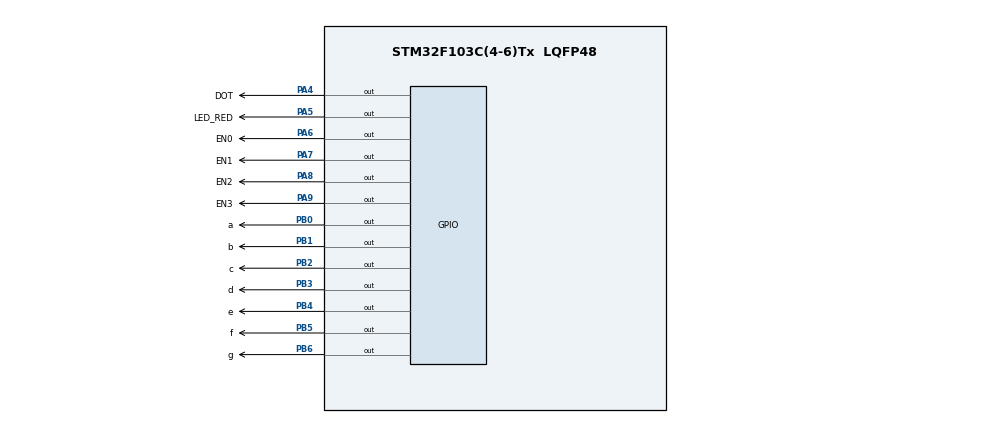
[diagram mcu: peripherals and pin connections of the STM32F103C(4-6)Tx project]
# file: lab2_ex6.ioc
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Mcu.Family=STM32F1
Mcu.Name=STM32F103C(4-6)Tx
Mcu.Package=LQFP48
NVIC.PriorityGroup=NVIC_PRIORITYGROUP_4
NVIC.TIM2_IRQn=true\:0\:0\:false\:false\:true\:true\:true
PA4.GPIO_Label=DOT
PA4.Signal=GPIO_Output
PA5.GPIO_Label=LED_RED
PA5.Signal=GPIO_Output
PA6.GPIO_Label=EN0
PA6.Signal=GPIO_Output
PA7.GPIO_Label=EN1
PA7.Signal=GPIO_Output
PA8.GPIO_Label=EN2
PA8.Signal=GPIO_Output
PA9.GPIO_Label=EN3
PA9.Signal=GPIO_Output
PB0.GPIO_Label=a
PB0.Signal=GPIO_Output
PB1.GPIO_Label=b
PB1.Signal=GPIO_Output
PB2.GPIO_Label=c
PB2.Signal=GPIO_Output
PB3.GPIO_Label=d
PB3.Signal=GPIO_Output
PB4.GPIO_Label=e
PB4.Signal=GPIO_Output
PB5.GPIO_Label=f
PB5.Signal=GPIO_Output
PB6.GPIO_Label=g
PB6.Signal=GPIO_Output
PD0-OSC_IN.Mode=HSE-External-Oscillator
PD0-OSC_IN.Signal=RCC_OSC_IN
PD1-OSC_OUT.Mode=HSE-External-Oscillator
PD1-OSC_OUT.Signal=RCC_OSC_OUT
ProjectManager.HeapSize=0x200
ProjectManager.StackSize=0x400
ProjectManager.TargetToolchain=STM32CubeIDE
RCC.APB1Freq_Value=8000000
RCC.APB2Freq_Value=8000000
TIM2.Period=9
TIM2.Prescaler=7999
VP_SYS_VS_ND.Mode=No_Debug
VP_TIM2_VS_ClockSourceINT.Mode=Internal
board=custom

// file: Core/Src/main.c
/* USER CODE BEGIN Header */
/**
  ******************************************************************************
  * @file           : main.c
  * @brief          : Main program body
  ******************************************************************************
  * @attention
  *
  * <h2><center>&copy; Copyright (c) 2021 STMicroelectronics.
  * All rights reserved.</center></h2>
  *
  * This software component is licensed by ST under BSD 3-Clause license,
  * the "License"; You may not use this file except in compliance with the
  * License. You may obtain a copy of the License at:
  *                        opensource.org/licenses/BSD-3-Clause
  *
  ******************************************************************************
  */
/* USER CODE END Header */
#include "main.h"

TIM_HandleTypeDef htim2;

void SystemClock_Config(void);
static void MX_GPIO_Init(void);
static void MX_TIM2_Init(void);

/* USER CODE BEGIN 0 */
void display7SEG(int num){
	  switch(num){
	  case 0:
		  HAL_GPIO_WritePin(GPIOB, b_Pin, GPIO_PIN_RESET);
		  HAL_GPIO_WritePin(GPIOB, c_Pin, GPIO_PIN_RESET);
		  HAL_GPIO_WritePin(GPIOB, f_Pin, GPIO_PIN_RESET);
		  HAL_GPIO_WritePin(GPIOB, g_Pin, 1);
		  HAL_GPIO_WritePin(GPIOB, a_Pin, GPIO_PIN_RESET);
		  HAL_GPIO_WritePin(GPIOB, d_Pin, GPIO_PIN_RESET);
		  HAL_GPIO_WritePin(GPIOB, e_Pin, GPIO_PIN_RESET);
		  break;
	  case 1:
		  HAL_GPIO_WritePin(GPIOB, b_Pin, GPIO_PIN_RESET);
		  HAL_GPIO_WritePin(GPIOB, c_Pin, GPIO_PIN_RESET);
		  HAL_GPIO_WritePin(GPIOB, f_Pin, 1);
		  HAL_GPIO_WritePin(GPIOB, g_Pin, 1);
		  HAL_GPIO_WritePin(GPIOB, a_Pin, 1);
		  HAL_GPIO_WritePin(GPIOB, d_Pin, 1);
		  HAL_GPIO_WritePin(GPIOB, e_Pin, 1);
	      break;
	  case 2:
		  HAL_GPIO_WritePin(GPIOB, b_Pin, GPIO_PIN_RESET);
		  HAL_GPIO_WritePin(GPIOB, c_Pin, 1);
		  HAL_GPIO_WritePin(GPIOB, f_Pin, 1);
		  HAL_GPIO_WritePin(GPIOB, g_Pin, GPIO_PIN_RESET);
		  HAL_GPIO_WritePin(GPIOB, a_Pin, GPIO_PIN_RESET);
		  HAL_GPIO_WritePin(GPIOB, d_Pin, GPIO_PIN_RESET);
		  HAL_GPIO_WritePin(GPIOB, e_Pin, GPIO_PIN_RESET);
	      break;
	  case 3:
		  HAL_GPIO_WritePin(GPIOB, b_Pin, GPIO_PIN_RESET);
		  HAL_GPIO_WritePin(GPIOB, c_Pin, GPIO_PIN_RESET);
		  HAL_GPIO_WritePin(GPIOB, f_Pin, 1);
		  HAL_GPIO_WritePin(GPIOB, g_Pin, GPIO_PIN_RESET);
		  HAL_GPIO_WritePin(GPIOB, a_Pin, GPIO_PIN_RESET);
		  HAL_GPIO_WritePin(GPIOB, d_Pin, GPIO_PIN_RESET);
		  HAL_GPIO_WritePin(GPIOB, e_Pin, 1);
	      break;
	  case 4:
		  HAL_GPIO_WritePin(GPIOB, b_Pin, GPIO_PIN_RESET);
		  HAL_GPIO_WritePin(GPIOB, c_Pin, GPIO_PIN_RESET);
		  HAL_GPIO_WritePin(GPIOB, f_Pin, GPIO_PIN_RESET);
		  HAL_GPIO_WritePin(GPIOB, g_Pin, GPIO_PIN_RESET);
		  HAL_GPIO_WritePin(GPIOB, a_Pin, 1);
		  HAL_GPIO_WritePin(GPIOB, d_Pin, 1);
		  HAL_GPIO_WritePin(GPIOB, e_Pin, 1);
	      break;
	  case 5:
		  HAL_GPIO_WritePin(GPIOB, a_Pin, GPIO_PIN_RESET);
		  HAL_GPIO_WritePin(GPIOB, c_Pin, GPIO_PIN_RESET);
		  HAL_GPIO_WritePin(GPIOB, d_Pin, GPIO_PIN_RESET);
		  HAL_GPIO_WritePin(GPIOB, g_Pin, GPIO_PIN_RESET);
		  HAL_GPIO_WritePin(GPIOB, f_Pin, GPIO_PIN_RESET);
		  HAL_GPIO_WritePin(GPIOB, b_Pin, 1);
		  HAL_GPIO_WritePin(GPIOB, e_Pin, 1);
	      break;
	  case 6:
		  HAL_GPIO_WritePin(GPIOB, a_Pin, GPIO_PIN_RESET);
		  HAL_GPIO_WritePin(GPIOB, b_Pin, 1);
		  HAL_GPIO_WritePin(GPIOB, c_Pin, GPIO_PIN_RESET);
		  HAL_GPIO_WritePin(GPIOB, d_Pin, GPIO_PIN_RESET);
		  HAL_GPIO_WritePin(GPIOB, e_Pin, GPIO_PIN_RESET);
		  HAL_GPIO_WritePin(GPIOB, f_Pin, GPIO_PIN_RESET);
		  HAL_GPIO_WritePin(GPIOB, g_Pin, GPIO_PIN_RESET);
	      break;
	  case 7:
		  HAL_GPIO_WritePin(GPIOB, a_Pin, GPIO_PIN_RESET);
		  HAL_GPIO_WritePin(GPIOB, b_Pin, GPIO_PIN_RESET);
		  HAL_GPIO_WritePin(GPIOB, c_Pin, GPIO_PIN_RESET);
		  HAL_GPIO_WritePin(GPIOB, d_Pin, 1);
		  HAL_GPIO_WritePin(GPIOB, e_Pin, 1);
		  HAL_GPIO_WritePin(GPIOB, f_Pin, 1);
		  HAL_GPIO_WritePin(GPIOB, g_Pin, 1);
	      break;
	  case 8:
		  HAL_GPIO_WritePin(GPIOB, a_Pin, GPIO_PIN_RESET);
		  HAL_GPIO_WritePin(GPIOB, b_Pin, GPIO_PIN_RESET);
		  HAL_GPIO_WritePin(GPIOB, c_Pin, GPIO_PIN_RESET);
		  HAL_GPIO_WritePin(GPIOB, d_Pin, GPIO_PIN_RESET);
		  HAL_GPIO_WritePin(GPIOB, e_Pin, GPIO_PIN_RESET);
		  HAL_GPIO_WritePin(GPIOB, f_Pin, GPIO_PIN_RESET);
		  HAL_GPIO_WritePin(GPIOB, g_Pin, GPIO_PIN_RESET);
	      break;
	  case 9:
		  HAL_GPIO_WritePin(GPIOB, a_Pin, GPIO_PIN_RESET);
		  HAL_GPIO_WritePin(GPIOB, b_Pin, GPIO_PIN_RESET);
		  HAL_GPIO_WritePin(GPIOB, c_Pin, GPIO_PIN_RESET);
		  HAL_GPIO_WritePin(GPIOB, d_Pin, GPIO_PIN_RESET);
		  HAL_GPIO_WritePin(GPIOB, e_Pin, 1);
		  HAL_GPIO_WritePin(GPIOB, f_Pin, GPIO_PIN_RESET);
		  HAL_GPIO_WritePin(GPIOB, g_Pin, GPIO_PIN_RESET);
	      break;
	  }
}
/* USER CODE END 0 */
const int MAX_LED = 4;
int index_led = 0;
int led_buffer [4] = {1, 2, 3, 4};
void update7SEG ( int index ){
 switch ( index ){
 case 0:
 // Display the first 7 SEG with led_buffer [0]
	 display7SEG(led_buffer[0]);
	 HAL_GPIO_WritePin(GPIOA, EN0_Pin,0);
	 HAL_GPIO_WritePin(GPIOA, EN1_Pin|EN2_Pin|EN3_Pin,1);
 break ;
 case 1:
 // Display the second 7 SEG with led_buffer [1]
	 HAL_GPIO_WritePin(GPIOA, EN1_Pin,0);
	 HAL_GPIO_WritePin(GPIOA, EN0_Pin|EN2_Pin|EN3_Pin,1);
	 display7SEG(led_buffer[1]);
 break ;
 case 2:
 // Display the third 7 SEG with led_buffer [2]
	 HAL_GPIO_WritePin(GPIOA, EN2_Pin,0);
	 HAL_GPIO_WritePin(GPIOA, EN0_Pin|EN1_Pin|EN3_Pin,1);
	 display7SEG(led_buffer[2]);
 break ;
 case 3:
 // Display the forth 7 SEG with led_buffer [3]
	 HAL_GPIO_WritePin(GPIOA, EN3_Pin,0);
	 HAL_GPIO_WritePin(GPIOA, EN0_Pin|EN2_Pin|EN1_Pin,1);
	 display7SEG(led_buffer[3]);
 break ;
 default :
 break ;
 }
}
int hour = 23, minute = 59, second = 10;
void updateClockBuffer(){
	led_buffer[0] = hour/10;
	led_buffer[1] = hour%10;
	led_buffer[2] = minute/10;
	led_buffer[3] = minute%10;
	if(hour < 10){
		led_buffer[0] = 0;
		led_buffer[1] = hour;
	}
	if(minute < 10){
		led_buffer[2] = 0;
		led_buffer[3] = minute;
	}
}
int timer0_counter = 0;
int timer0_flag = 0;
int TIMER_CYCLE = 10;
void setTimer0 ( int duration ){
 timer0_counter = duration / TIMER_CYCLE ;
 timer0_flag = 0;
 }
void timer_run (){
 if( timer0_counter > 0){
 timer0_counter --;
 if( timer0_counter == 0) timer0_flag = 1;
 }
}

int main(void)
{

  /* MCU Configuration--------------------------------------------------------*/

  /* Reset of all peripherals, Initializes the Flash interface and the Systick. */
  HAL_Init();

  /* Configure the system clock */
  SystemClock_Config();

  /* Initialize all configured peripherals */
  MX_GPIO_Init();
  MX_TIM2_Init();
  HAL_TIM_Base_Start_IT(&htim2);

  /* Infinite loop */
  /* USER CODE BEGIN WHILE */
  setTimer0(200);
  while (1)
  {

    if(timer0_flag == 1){
        HAL_GPIO_TogglePin(GPIOA, DOT_Pin);
        updateClockBuffer();
        update7SEG(index_led++);
        if(index_led >= MAX_LED){
            index_led = 0;
        }
        second++;
        if(second >= 60){
            second = 0;
            minute++;
        }
        if(minute >= 60){
            minute = 0;
            hour++;
        }
        if(hour >= 24){
            hour = 0;
        }
        setTimer0 (200) ;
    }

  /* USER CODE END WHILE */
  }
  }

void SystemClock_Config(void)
{
  RCC_OscInitTypeDef RCC_OscInitStruct = {0};
  RCC_ClkInitTypeDef RCC_ClkInitStruct = {0};

  /** Initializes the RCC Oscillators according to the specified parameters
  * in the RCC_OscInitTypeDef structure.
  */
  RCC_OscInitStruct.OscillatorType = RCC_OSCILLATORTYPE_HSI;
  RCC_OscInitStruct.HSIState = RCC_HSI_ON;
  RCC_OscInitStruct.HSICalibrationValue = RCC_HSICALIBRATION_DEFAULT;
  RCC_OscInitStruct.PLL.PLLState = RCC_PLL_NONE;
  if (HAL_RCC_OscConfig(&RCC_OscInitStruct) != HAL_OK)
  {
    Error_Handler();
  }
  /** Initializes the CPU, AHB and APB buses clocks
  */
  RCC_ClkInitStruct.ClockType = RCC_CLOCKTYPE_HCLK|RCC_CLOCKTYPE_SYSCLK
                              |RCC_CLOCKTYPE_PCLK1|RCC_CLOCKTYPE_PCLK2;
  RCC_ClkInitStruct.SYSCLKSource = RCC_SYSCLKSOURCE_HSI;
  RCC_ClkInitStruct.AHBCLKDivider = RCC_SYSCLK_DIV1;
  RCC_ClkInitStruct.APB1CLKDivider = RCC_HCLK_DIV1;
  RCC_ClkInitStruct.APB2CLKDivider = RCC_HCLK_DIV1;

  if (HAL_RCC_ClockConfig(&RCC_ClkInitStruct, FLASH_LATENCY_0) != HAL_OK)
  {
    Error_Handler();
  }
}

static void MX_TIM2_Init(void)
{

  TIM_ClockConfigTypeDef sClockSourceConfig = {0};
  TIM_MasterConfigTypeDef sMasterConfig = {0};

  htim2.Instance = TIM2;
  htim2.Init.Prescaler = 7999;
  htim2.Init.CounterMode = TIM_COUNTERMODE_UP;
  htim2.Init.Period = 9;
  htim2.Init.ClockDivision = TIM_CLOCKDIVISION_DIV1;
  htim2.Init.AutoReloadPreload = TIM_AUTORELOAD_PRELOAD_DISABLE;
  if (HAL_TIM_Base_Init(&htim2) != HAL_OK)
  {
    Error_Handler();
  }
  sClockSourceConfig.ClockSource = TIM_CLOCKSOURCE_INTERNAL;
  if (HAL_TIM_ConfigClockSource(&htim2, &sClockSourceConfig) != HAL_OK)
  {
    Error_Handler();
  }
  sMasterConfig.MasterOutputTrigger = TIM_TRGO_RESET;
  sMasterConfig.MasterSlaveMode = TIM_MASTERSLAVEMODE_DISABLE;
  if (HAL_TIMEx_MasterConfigSynchronization(&htim2, &sMasterConfig) != HAL_OK)
  {
    Error_Handler();
  }

}

static void MX_GPIO_Init(void)
{
  GPIO_InitTypeDef GPIO_InitStruct = {0};

  /* GPIO Ports Clock Enable */
  __HAL_RCC_GPIOD_CLK_ENABLE();
  __HAL_RCC_GPIOA_CLK_ENABLE();
  __HAL_RCC_GPIOB_CLK_ENABLE();

  /*Configure GPIO pin Output Level */
  HAL_GPIO_WritePin(GPIOA, DOT_Pin|LED_RED_Pin|EN0_Pin|EN1_Pin
                          |EN2_Pin|EN3_Pin, GPIO_PIN_RESET);

  /*Configure GPIO pin Output Level */
  HAL_GPIO_WritePin(GPIOB, a_Pin|b_Pin|c_Pin|d_Pin
                          |e_Pin|f_Pin|g_Pin, GPIO_PIN_RESET);

  /*Configure GPIO pins : DOT_Pin LED_RED_Pin EN0_Pin EN1_Pin
                           EN2_Pin EN3_Pin */
  GPIO_InitStruct.Pin = DOT_Pin|LED_RED_Pin|EN0_Pin|EN1_Pin
                          |EN2_Pin|EN3_Pin;
  GPIO_InitStruct.Mode = GPIO_MODE_OUTPUT_PP;
  GPIO_InitStruct.Pull = GPIO_NOPULL;
  GPIO_InitStruct.Speed = GPIO_SPEED_FREQ_LOW;
  HAL_GPIO_Init(GPIOA, &GPIO_InitStruct);

  /*Configure GPIO pins : a_Pin b_Pin c_Pin d_Pin
                           e_Pin f_Pin g_Pin */
  GPIO_InitStruct.Pin = a_Pin|b_Pin|c_Pin|d_Pin
                          |e_Pin|f_Pin|g_Pin;
  GPIO_InitStruct.Mode = GPIO_MODE_OUTPUT_PP;
  GPIO_InitStruct.Pull = GPIO_NOPULL;
  GPIO_InitStruct.Speed = GPIO_SPEED_FREQ_LOW;
  HAL_GPIO_Init(GPIOB, &GPIO_InitStruct);

}

/* USER CODE BEGIN 4 */
void HAL_TIM_PeriodElapsedCallback ( TIM_HandleTypeDef * htim ){
timer_run();
}
/* USER CODE END 4 */

void Error_Handler(void)
{
  __disable_irq();
  while (1)
  {
  }
}

/************************ (C) COPYRIGHT STMicroelectronics *****END OF FILE****/
